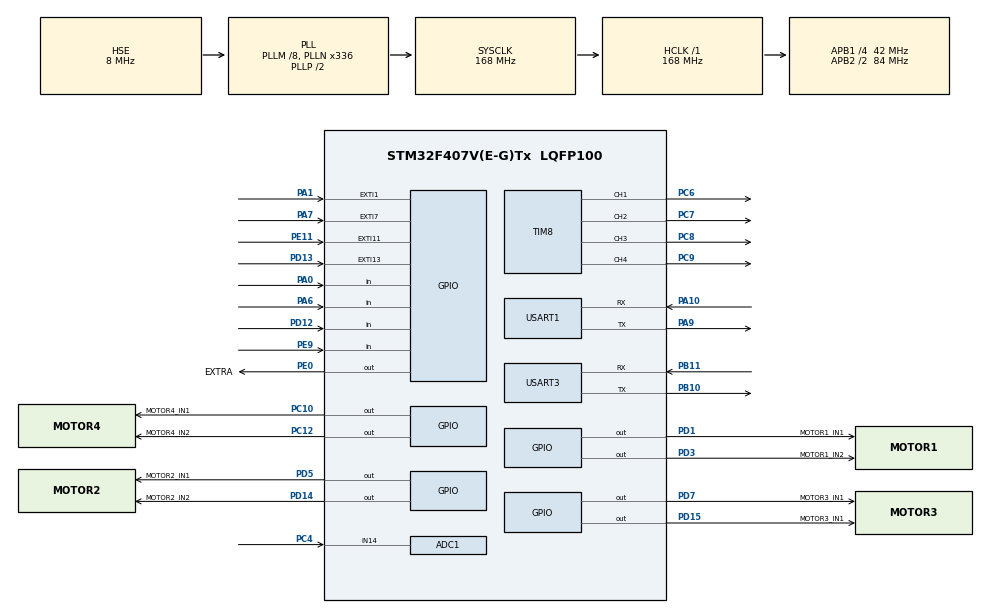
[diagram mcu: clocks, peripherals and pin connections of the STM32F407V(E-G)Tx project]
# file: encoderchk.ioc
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ADC1.Channel-0\#ChannelRegularConversion=ADC_CHANNEL_14
ADC1.NbrOfConversionFlag=1
ADC1.Rank-0\#ChannelRegularConversion=1
ADC1.SamplingTime-0\#ChannelRegularConversion=ADC_SAMPLETIME_3CYCLES
ADC1.master=1
Mcu.Family=STM32F4
Mcu.Name=STM32F407V(E-G)Tx
Mcu.Package=LQFP100
NVIC.EXTI15_10_IRQn=true\:0\:0\:false\:false\:true\:true
NVIC.EXTI1_IRQn=true\:0\:0\:false\:false\:true\:true
NVIC.EXTI9_5_IRQn=true\:0\:0\:false\:false\:true\:true
NVIC.PriorityGroup=NVIC_PRIORITYGROUP_4
PA0-WKUP.GPIO_PuPd=GPIO_PULLUP
PA0-WKUP.Signal=GPIO_Input
PA1.Signal=GPXTI1
PA10.Mode=Asynchronous
PA10.Signal=USART1_RX
PA13.Mode=Trace_Asynchronous_SW
PA13.Signal=SYS_JTMS-SWDIO
PA14.Mode=Trace_Asynchronous_SW
PA14.Signal=SYS_JTCK-SWCLK
PA6.GPIO_PuPd=GPIO_PULLUP
PA6.Signal=GPIO_Input
PA7.Signal=GPXTI7
PA9.Mode=Asynchronous
PA9.Signal=USART1_TX
PB10.Mode=Asynchronous
PB10.Signal=USART3_TX
PB11.Mode=Asynchronous
PB11.Signal=USART3_RX
PB3.Mode=Trace_Asynchronous_SW
PB3.Signal=SYS_JTDO-SWO
PC10.GPIO_Label=MOTOR4_IN1
PC10.GPIO_Speed=GPIO_SPEED_FREQ_VERY_HIGH
PC10.Signal=GPIO_Output
PC12.GPIO_Label=MOTOR4_IN2
PC12.GPIO_Speed=GPIO_SPEED_FREQ_VERY_HIGH
PC12.Signal=GPIO_Output
PC4.Signal=ADCx_IN14
PC6.Signal=S_TIM8_CH1
PC7.Signal=S_TIM8_CH2
PC8.Signal=S_TIM8_CH3
PC9.Signal=S_TIM8_CH4
PD1.GPIO_Label=MOTOR1_IN1
PD1.GPIO_Speed=GPIO_SPEED_FREQ_VERY_HIGH
PD1.Signal=GPIO_Output
PD12.GPIO_Mode=GPIO_MODE_INPUT
PD12.GPIO_PuPd=GPIO_PULLUP
PD12.Signal=GPIO_Input
PD13.Signal=GPXTI13
PD14.GPIO_Label=MOTOR2_IN2
PD14.GPIO_Speed=GPIO_SPEED_FREQ_VERY_HIGH
PD14.Signal=GPIO_Output
PD15.GPIO_Label=MOTOR3_IN1
PD15.GPIO_Speed=GPIO_SPEED_FREQ_VERY_HIGH
PD15.Signal=GPIO_Output
PD3.GPIO_Label=MOTOR1_IN2
PD3.GPIO_Speed=GPIO_SPEED_FREQ_VERY_HIGH
PD3.Signal=GPIO_Output
PD5.GPIO_Label=MOTOR2_IN1
PD5.GPIO_Speed=GPIO_SPEED_FREQ_VERY_HIGH
PD5.Signal=GPIO_Output
PD7.GPIO_Label=MOTOR3_IN1
PD7.GPIO_Speed=GPIO_SPEED_FREQ_VERY_HIGH
PD7.Signal=GPIO_Output
PE0.GPIO_Label=EXTRA
PE0.GPIO_Speed=GPIO_SPEED_FREQ_VERY_HIGH
PE0.Signal=GPIO_Output
PE11.Signal=GPXTI11
PE9.GPIO_PuPd=GPIO_PULLUP
PE9.Signal=GPIO_Input
PH0-OSC_IN.Mode=HSE-External-Oscillator
PH0-OSC_IN.Signal=RCC_OSC_IN
PH1-OSC_OUT.Mode=HSE-External-Oscillator
PH1-OSC_OUT.Signal=RCC_OSC_OUT
ProjectManager.HeapSize=0x200
ProjectManager.StackSize=0x400
ProjectManager.TargetToolchain=MDK-ARM V5
RCC.48MHZClocksFreq_Value=84000000
RCC.AHBFreq_Value=168000000
RCC.APB1CLKDivider=RCC_HCLK_DIV4
RCC.APB1Freq_Value=42000000
RCC.APB1TimFreq_Value=84000000
RCC.APB2CLKDivider=RCC_HCLK_DIV2
RCC.APB2Freq_Value=84000000
RCC.APB2TimFreq_Value=168000000
RCC.CortexFreq_Value=168000000
RCC.HCLKFreq_Value=168000000
RCC.HSE_VALUE=8000000
RCC.HSI_VALUE=16000000
RCC.LSE_VALUE=32768
RCC.PLLM=8
RCC.PLLN=336
RCC.PLLSourceVirtual=RCC_PLLSOURCE_HSE
RCC.SYSCLKFreq_VALUE=168000000
RCC.SYSCLKSource=RCC_SYSCLKSOURCE_PLLCLK
RCC.VCOOutputFreq_Value=336000000
SH.ADCx_IN14.0=ADC1_IN14,IN14
SH.S_TIM8_CH1.0=TIM8_CH1,PWM Generation1 CH1
SH.S_TIM8_CH2.0=TIM8_CH2,PWM Generation2 CH2
SH.S_TIM8_CH3.0=TIM8_CH3,PWM Generation3 CH3
SH.S_TIM8_CH4.0=TIM8_CH4,PWM Generation4 CH4
TIM8.Channel-PWM\ Generation1\ CH1=TIM_CHANNEL_1
TIM8.Channel-PWM\ Generation2\ CH2=TIM_CHANNEL_2
TIM8.Channel-PWM\ Generation3\ CH3=TIM_CHANNEL_3
TIM8.Channel-PWM\ Generation4\ CH4=TIM_CHANNEL_4
USART1.VirtualMode=VM_ASYNC
USART3.VirtualMode=VM_ASYNC
board=custom

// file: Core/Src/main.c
/**
  ******************************************************************************
  * @file           : main.c
  * @brief          : Main program body
  ******************************************************************************
  ** This notice applies to any and all portions of this file
  * that are not between comment pairs USER CODE BEGIN and
  * USER CODE END. Other portions of this file, whether
  * inserted by the user or by software development tools
  * are owned by their respective copyright owners.
  *
  * COPYRIGHT(c) 2018 STMicroelectronics
  *
  * Redistribution and use in source and binary forms, with or without modification,
  * are permitted provided that the following conditions are met:
  *   1. Redistributions of source code must retain the above copyright notice,
  *      this list of conditions and the following disclaimer.
  *   2. Redistributions in binary form must reproduce the above copyright notice,
  *      this list of conditions and the following disclaimer in the documentation
  *      and/or other materials provided with the distribution.
  *   3. Neither the name of STMicroelectronics nor the names of its contributors
  *      may be used to endorse or promote products derived from this software
  *      without specific prior written permission.
  *
  * THIS SOFTWARE IS PROVIDED BY THE COPYRIGHT HOLDERS AND CONTRIBUTORS "AS IS"
  * AND ANY EXPRESS OR IMPLIED WARRANTIES, INCLUDING, BUT NOT LIMITED TO, THE
  * IMPLIED WARRANTIES OF MERCHANTABILITY AND FITNESS FOR A PARTICULAR PURPOSE ARE
  * DISCLAIMED. IN NO EVENT SHALL THE COPYRIGHT HOLDER OR CONTRIBUTORS BE LIABLE
  * FOR ANY DIRECT, INDIRECT, INCIDENTAL, SPECIAL, EXEMPLARY, OR CONSEQUENTIAL
  * DAMAGES (INCLUDING, BUT NOT LIMITED TO, PROCUREMENT OF SUBSTITUTE GOODS OR
  * SERVICES; LOSS OF USE, DATA, OR PROFITS; OR BUSINESS INTERRUPTION) HOWEVER
  * CAUSED AND ON ANY THEORY OF LIABILITY, WHETHER IN CONTRACT, STRICT LIABILITY,
  * OR TORT (INCLUDING NEGLIGENCE OR OTHERWISE) ARISING IN ANY WAY OUT OF THE USE
  * OF THIS SOFTWARE, EVEN IF ADVISED OF THE POSSIBILITY OF SUCH DAMAGE.
  *
  ******************************************************************************
  */
#include "main.h"
#include "stm32f4xx_hal.h"
#include "adc.h"
#include "tim.h"
#include "usart.h"
#include "gpio.h"
#include "pid.h"

/* USER CODE BEGIN Includes */
#include "robo_init.h"
#include "robot.h"
#include "headers.h"

/* USER CODE END Includes */

/* USER CODE BEGIN PV */

extern float robotx, roboty;

struct __FILE
{
	int handle;
};

FILE __stdout;
FILE __stdin;

int fputc(int ch, FILE *f)
{
	ITM_SendChar(ch);
	return(ch);
}

/* Private variables ---------------------------------------------------------*/

/* USER CODE END PV */

void SystemClock_Config(void);

/* USER CODE BEGIN PFP */
/* Private function prototypes -----------------------------------------------*/

/* USER CODE END PFP */

int main(void)
{
        /* USER CODE BEGIN 1 */
	/*			uint32_t update_tick = HAL_GetTick();
				uint32_t sample_time = 10L;
				struct Str_pid pid[3];
	      float p,i,d;
	  */
        /* USER CODE END 1 */

        /* MCU Configuration----------------------------------------------------------*/

        /* Reset of all peripherals, Initializes the Flash interface and the Systick. */
        HAL_Init();

        /* Configure the system clock */
        SystemClock_Config();

        /* Initialize all configured peripherals */
        MX_GPIO_Init();
        MX_ADC1_Init();
        MX_TIM8_Init();
        MX_USART1_UART_Init();
        MX_USART3_UART_Init();

        /* USER CODE BEGIN 2 */

	wheel_init();

        HAL_TIM_Base_Start(&htim8);
        HAL_TIM_PWM_Start(&htim8, TIM_CHANNEL_1);
	HAL_TIM_PWM_Start(&htim8, TIM_CHANNEL_2);
	HAL_TIM_PWM_Start(&htim8, TIM_CHANNEL_3);
	HAL_TIM_PWM_Start(&htim8, TIM_CHANNEL_4);

	set_Direction(&Wheel_arr[0], DIR_AHEAD);
        set_DutyCycle(&Wheel_arr[0], 20000);
	set_Direction(&Wheel_arr[1], DIR_AHEAD);
        set_DutyCycle(&Wheel_arr[1], 20000);
	set_Direction(&Wheel_arr[2], DIR_BACK);
        set_DutyCycle(&Wheel_arr[2], 20000);
	set_Direction(&Wheel_arr[3], DIR_AHEAD);
        set_DutyCycle(&Wheel_arr[3], 20000);
	 //play();
        /* USER CODE END 2 */

        /* Infinite loop */
        /* USER CODE BEGIN WHILE */
        while (1)
        {
		//HAL_Delay(50);
		//calculate_distance_of_robot();
		printf("testqwertyuiopasdfghjklzxcvbnm \n");
		HAL_Delay(5);
		//printf("%d \t%d \t%d \t%d \n",e[0].count,e[1].count,e[2].count,e[3].count );
                /* USER CODE END WHILE */
                /* USER CODE BEGIN 3 *//*
					if ((HAL_GetTick()- update_tick)> sample_time)
					{
						 update_tick = HAL_GetTick();
		         counts_per_sec[0] = counts[0]*100;

						 countsToOmega(counts_per_sec);
				    printf("%d \n",omega[0]) ;
				  }
					float a;*/

        /* USER CODE END 3 */
	     }
}

void SystemClock_Config(void)
{

        RCC_OscInitTypeDef RCC_OscInitStruct;
        RCC_ClkInitTypeDef RCC_ClkInitStruct;

        /**Configure the main internal regulator output voltage
    */
        __HAL_RCC_PWR_CLK_ENABLE();

        __HAL_PWR_VOLTAGESCALING_CONFIG(PWR_REGULATOR_VOLTAGE_SCALE1);

        /**Initializes the CPU, AHB and APB busses clocks
    */
        RCC_OscInitStruct.OscillatorType = RCC_OSCILLATORTYPE_HSE;
        RCC_OscInitStruct.HSEState = RCC_HSE_ON;
        RCC_OscInitStruct.PLL.PLLState = RCC_PLL_ON;
        RCC_OscInitStruct.PLL.PLLSource = RCC_PLLSOURCE_HSE;
        RCC_OscInitStruct.PLL.PLLM = 8;
        RCC_OscInitStruct.PLL.PLLN = 336;
        RCC_OscInitStruct.PLL.PLLP = RCC_PLLP_DIV2;
        RCC_OscInitStruct.PLL.PLLQ = 4;
        if (HAL_RCC_OscConfig(&RCC_OscInitStruct) != HAL_OK)
        {
                _Error_Handler(__FILE__, __LINE__);
        }

        /**Initializes the CPU, AHB and APB busses clocks
    */
        RCC_ClkInitStruct.ClockType = RCC_CLOCKTYPE_HCLK | RCC_CLOCKTYPE_SYSCLK | RCC_CLOCKTYPE_PCLK1 | RCC_CLOCKTYPE_PCLK2;
        RCC_ClkInitStruct.SYSCLKSource = RCC_SYSCLKSOURCE_PLLCLK;
        RCC_ClkInitStruct.AHBCLKDivider = RCC_SYSCLK_DIV1;
        RCC_ClkInitStruct.APB1CLKDivider = RCC_HCLK_DIV4;
        RCC_ClkInitStruct.APB2CLKDivider = RCC_HCLK_DIV2;

        if (HAL_RCC_ClockConfig(&RCC_ClkInitStruct, FLASH_LATENCY_5) != HAL_OK)
        {
                _Error_Handler(__FILE__, __LINE__);
        }

        /**Configure the Systick interrupt time
    */
        HAL_SYSTICK_Config(HAL_RCC_GetHCLKFreq() / 1000);

        /**Configure the Systick
    */
        HAL_SYSTICK_CLKSourceConfig(SYSTICK_CLKSOURCE_HCLK);

        /* SysTick_IRQn interrupt configuration */
        HAL_NVIC_SetPriority(SysTick_IRQn, 0, 0);
}

void _Error_Handler(char *file, int line)
{
        while (1)
        {
        }
}

/************************ (C) COPYRIGHT STMicroelectronics *****END OF FILE****/
